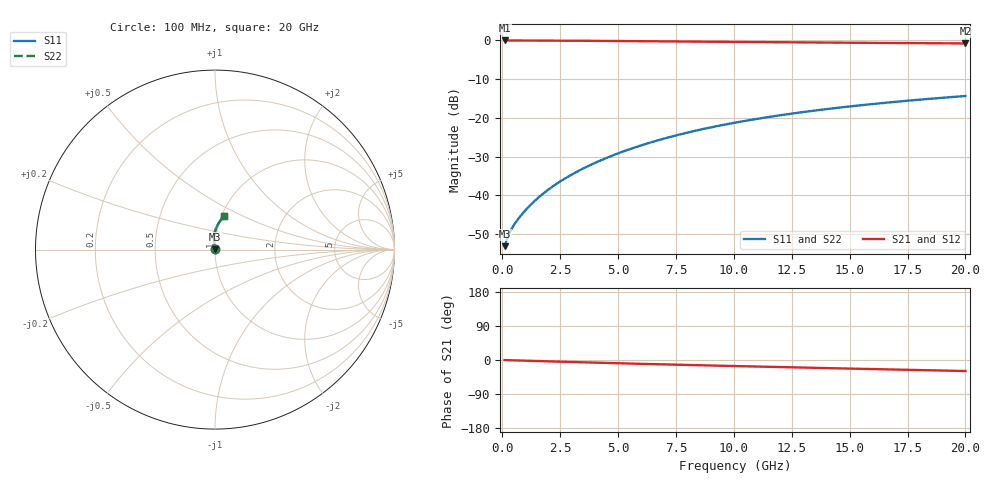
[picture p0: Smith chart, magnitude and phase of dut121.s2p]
! Touchstone file exported from HFSS 2024.1.0
!  File:  C:/UserFiles/LocalFiles/RDL_TSV_Batchsim/temp_RDL_bottom_121_1778696092.aedt
!  Generated:  02:16:53 AM May 14, 2026
!  Design:  RDL_bottom
!  Project:  temp_RDL_bottom_121_1778696092
!  Setup:  Setup1
!  Solution:  Sweep
! Variables:
!  dtsv = 10.80580581um
!  hbump = 3um
!  htsv = 66.29um
!  ldown = 475.05um
!  lrdl = 100um
!  p = 40
!  p1 = 42.03um
!  rhole = 1um
!  t = 450um
!  tdown = 3.32um
!  trdl = 3.915915916um
!  wdown = 28.67um
!  wrdl = 20um
# GHz S MA R 50.000000
! Terminal data exported
! Port[1] = RDL1_T1
! Port[2] = RDL1_T2
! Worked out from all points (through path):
!   200 points, 100 MHz to 20 GHz, reference 50 ohm
!   highest |S21| = -0.02 dB at 100 MHz (marker M1); lowest = -0.8 dB at 20 GHz (marker M2)
!   group delay of S21, straight-line fit = 3.97 ps
!   lowest |S11| = -53.1 dB at 100 MHz (marker M3), VSWR 1.00, Z = 50.2 + j0.0839 ohm
!   |S11| at or under -10 dB: start of sweep to end of sweep
!   |S22| runs from -53.1 to -14.4 dB; largest |S21 - S12| = 3.2e-15
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0.1  0.002218 22.1  0.9979 -0.2  0.9979 -0.2  0.002218 22.1
! Gamma 0 0 0 0
! Port Impedance 50 0 50 0
0.2  0.002717 35.1  0.9977 -0.4  0.9977 -0.4  0.002717 35.1
0.3  0.00323 42.4  0.9975 -0.6  0.9975 -0.6  0.00323 42.4
0.4  0.003703 47.6  0.9973 -0.7  0.9973 -0.7  0.003703 47.6
0.5  0.004152 51.9  0.9971 -0.9  0.9971 -0.9  0.004152 51.9
0.8  0.0055 62.3  0.9966 -1.5  0.9966 -1.5  0.0055 62.3
1.2  0.007464 72.0  0.996 -2.2  0.996 -2.2  0.007464 72.0
1.7  0.0102 80.0  0.9949 -3.0  0.9949 -3.0  0.0102 80.0
2.2  0.01321 85.4  0.9935 -3.9  0.9935 -3.9  0.01321 85.4
2.8  0.01719 89.8  0.9914 -5.0  0.9914 -5.0  0.01719 89.8
3.5  0.02231 93.2  0.9886 -6.1  0.9886 -6.1  0.02231 93.1
4.2  0.02793 95.2  0.9854 -7.3  0.9854 -7.3  0.02792 95.2
5  0.0349 96.4  0.9815 -8.6  0.9815 -8.6  0.03489 96.4
5.9  0.04333 96.8  0.9768 -10.0  0.9768 -10.0  0.04332 96.8
6.8  0.05227 96.5  0.972 -11.4  0.972 -11.4  0.05225 96.5
8.4  0.069 94.8  0.9635 -13.7  0.9635 -13.7  0.06898 94.8
10.1  0.08742 92.2  0.955 -16.1  0.955 -16.1  0.0874 92.2
11.7  0.1049 89.4  0.9474 -18.3  0.9474 -18.3  0.1049 89.4
13.4  0.1235 86.4  0.9398 -20.6  0.9398 -20.6  0.1234 86.4
15  0.1406 83.5  0.933 -22.7  0.933 -22.7  0.1406 83.5
16.7  0.1585 80.5  0.9261 -24.9  0.9261 -24.9  0.1584 80.5
20  0.1917 74.8  0.9134 -29.1  0.9134 -29.1  0.1916 74.8
